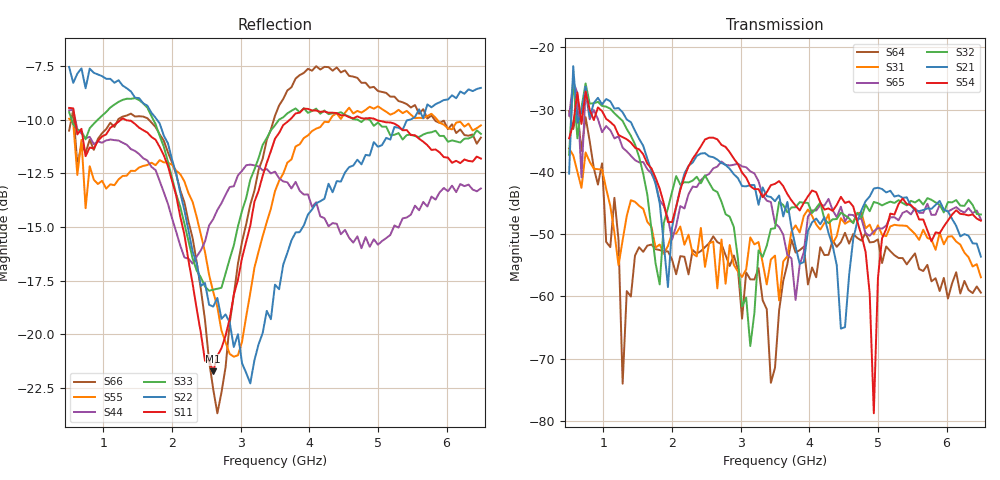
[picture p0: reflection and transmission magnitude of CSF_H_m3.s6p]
!Keysight Technologies,M9804A,MY58100912,A.14.10.03
!Date: Thursday, April 27, 2023 10:28:33
!Correction: S11(C  6-Port  )
!S12(C  6-Port  )
!S13(C  6-Port  )
!S14(C  6-Port  )
!S15(C  6-Port  )
!S16(C  6-Port  )
!S21(C  6-Port  )
!S22(C  6-Port  )
!S23(C  6-Port  )
!S24(C  6-Port  )
!S25(C  6-Port  )
!S26(C  6-Port  )
!S31(C  6-Port  )
!S32(C  6-Port  )
!S33(C  6-Port  )
!S34(C  6-Port  )
!S35(C  6-Port  )
!S36(C  6-Port  )
!S41(C  6-Port  )
!S42(C  6-Port  )
!S43(C  6-Port  )
!S44(C  6-Port  )
!S45(C  6-Port  )
!S46(C  6-Port  )
!S51(C  6-Port  )
!S52(C  6-Port  )
!S53(C  6-Port  )
!S54(C  6-Port  )
!S55(C  6-Port  )
!S56(C  6-Port  )
!S61(C  6-Port  )
!S62(C  6-Port  )
!S63(C  6-Port  )
!S64(C  6-Port  )
!S65(C  6-Port  )
!S66(C  6-Port  )
!S6P File: Measurement: :
# Hz S  RI  R 50
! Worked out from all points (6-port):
!   101 points, 500 MHz to 6.5 GHz, reference 50 ohm
!   strongest paths, dB at 500 MHz, 2 GHz, 3.5 GHz, 5 GHz, 6.5 GHz:
!     S54: -34.6, -48.1, -41.9, -57.0, -47.8
!     S21: -40.3, -49.0, -44.7, -42.6, -53.6
!     S32: -37.3, -43.2, -49.0, -45.0, -46.8
!     S65: -31.0, -50.9, -48.3, -49.0, -47.6
!     S31: -36.2, -49.8, -53.4, -48.6, -56.9
!     S64: -30.3, -54.1, -71.4, -50.8, -59.4
!   lowest |S11| = -21.7 dB at 2.6 GHz (marker M1), VSWR 1.18, Z = 42.7 + j1.98 ohm
!   |S11| at or under -10 dB: 585.8 MHz to 1.259 GHz (673.5 MHz wide, 73 % of centre); 1.316 GHz to 3.718 GHz (2.402 GHz wide, 95.4 % of centre); 4.969 GHz to end of sweep
